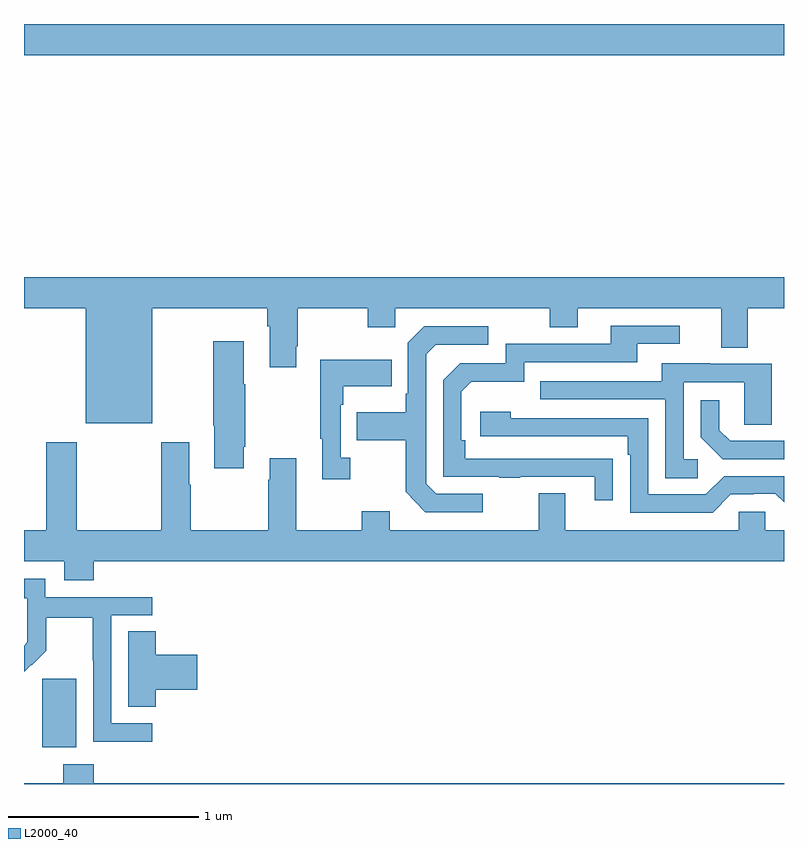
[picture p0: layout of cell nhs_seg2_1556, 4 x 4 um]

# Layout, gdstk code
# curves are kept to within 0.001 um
import gdstk
lib = gdstk.Library(unit=1e-6, precision=1e-09)
def R(c, l, rs):  # rectangles x0, y0, x1, y1
    for r in rs: c.add(gdstk.rectangle(r[:2], r[2:], *l))
def P(c, l, *ps):  # polygons
    for p in ps: c.add(gdstk.Polygon(p, *l))
L2000_40 = (2000, 40)

nhs_seg2_1556 = lib.new_cell('nhs_seg2_1556')
R(nhs_seg2_1556, L2000_40, [(191.096,643.994,191.275,644.355), (191,647.636,195,647.8)])
P(nhs_seg2_1556, L2000_40, [(191.674,646.304),(192.281,646.304),(192.281,646.208),(192.293,646.208),(192.293,645.993),(192.433,645.993),(192.433,646.105),(192.441,646.105),(192.441,646.304),(192.808,646.304),(192.808,646.205),(192.954,646.205),(192.954,646.304),(193.768,646.304),(193.768,646.205),(193.915,646.205),(193.915,646.304),(194.669,646.304),(194.669,646.096),(194.809,646.096),(194.809,646.304),(195,646.304),(195,646.468),(191,646.468),(191,646.304),(191.324,646.304),(191.324,645.698),(191.674,645.698)],
  [(194.099,645.512),(193.322,645.513),(193.322,645.61),(193.302,645.61),(193.302,645.864),(193.355,645.917),(193.632,645.917),(193.632,646.02),(194.227,646.02),(194.227,646.116),(194.452,646.116),(194.452,646.212),(194.087,646.212),(194.087,646.116),(193.536,646.116),(193.536,646.014),(193.296,646.014),(193.206,645.924),(193.206,645.417),(193.501,645.417),(193.501,645.412),(193.613,645.412),(193.613,645.417),(194.003,645.417),(194.003,645.294),(194.099,645.294)],
  [(193.414,645.327),(193.17,645.327),(193.116,645.381),(193.116,646.062),(193.167,646.113),(193.444,646.113),(193.444,646.209),(193.107,646.209),(193.02,646.122),(193.02,645.853),(193.008,645.853),(193.008,645.757),(192.751,645.757),(192.751,645.61),(193.008,645.61),(193.008,645.337),(193.113,645.231),(193.414,645.231)],
  [(192.157,645.574),(192.165,645.574),(192.165,645.905),(192.157,645.905),(192.157,646.129),(191.995,646.129),(191.995,645.685),(192.002,645.685),(192.002,645.462),(192.157,645.462)],
  [(192.718,645.518),(192.666,645.518),(192.666,645.797),(192.679,645.797),(192.679,645.893),(192.935,645.893),(192.935,646.033),(192.558,646.033),(192.558,645.617),(192.569,645.617),(192.569,645.405),(192.718,645.405)],
  [(194.545,645.51),(194.472,645.51),(194.472,645.915),(194.79,645.915),(194.79,645.691),(194.935,645.691),(194.935,646.011),(194.611,646.011),(194.611,646.015),(194.357,646.015),(194.357,645.921),(193.717,645.921),(193.717,645.825),(194.376,645.825),(194.376,645.409),(194.545,645.409)],
  [(195,645.606),(194.716,645.606),(194.659,645.663),(194.659,645.82),(194.562,645.82),(194.562,645.626),(194.678,645.51),(195,645.51)],
  [(194.721,645.324),(194.84,645.324),(194.84,645.327),(194.955,645.327),(195,645.282),(195,645.42),(194.685,645.42),(194.589,645.324),(194.286,645.324),(194.286,645.726),(193.562,645.726),(193.562,645.76),(193.401,645.76),(193.401,645.63),(194.177,645.63),(194.177,645.533),(194.19,645.533),(194.19,645.228),(194.625,645.228)],
  [(195,645.136),(194.901,645.136),(194.901,645.234),(194.763,645.234),(194.763,645.136),(193.849,645.136),(193.849,645.331),(193.709,645.331),(193.709,645.136),(192.925,645.136),(192.925,645.235),(192.778,645.235),(192.778,645.136),(192.433,645.136),(192.433,645.514),(192.293,645.514),(192.293,645.401),(192.286,645.401),(192.286,645.136),(191.877,645.136),(191.877,645.374),(191.869,645.374),(191.869,645.598),(191.722,645.598),(191.722,645.136),(191.277,645.136),(191.277,645.598),(191.117,645.598),(191.117,645.136),(191,645.136),(191,644.972),(191.213,644.972),(191.213,644.873),(191.366,644.873),(191.366,644.972),(195,644.972)],
  [(191.674,644.121),(191.46,644.121),(191.46,644.688),(191.674,644.688),(191.674,644.784),(191.112,644.784),(191.112,644.881),(191,644.881),(191,644.777),(191.016,644.777),(191.016,644.643),(191.018,644.643),(191.018,644.546),(191,644.528),(191,644.39),(191.037,644.427),(191.04,644.424),(191.117,644.501),(191.117,644.676),(191.362,644.676),(191.362,644.452),(191.364,644.452),(191.364,644.023),(191.674,644.023)],
  [(191.693,644.297),(191.911,644.297),(191.911,644.48),(191.693,644.48),(191.693,644.603),(191.549,644.603),(191.549,644.206),(191.693,644.206)],
  [(195,643.804),(191.366,643.804),(191.366,643.903),(191.206,643.903),(191.206,643.804),(191,643.804),(191,643.8),(195,643.8)])

lib.write_gds('nhs_seg2_1556.gds')
